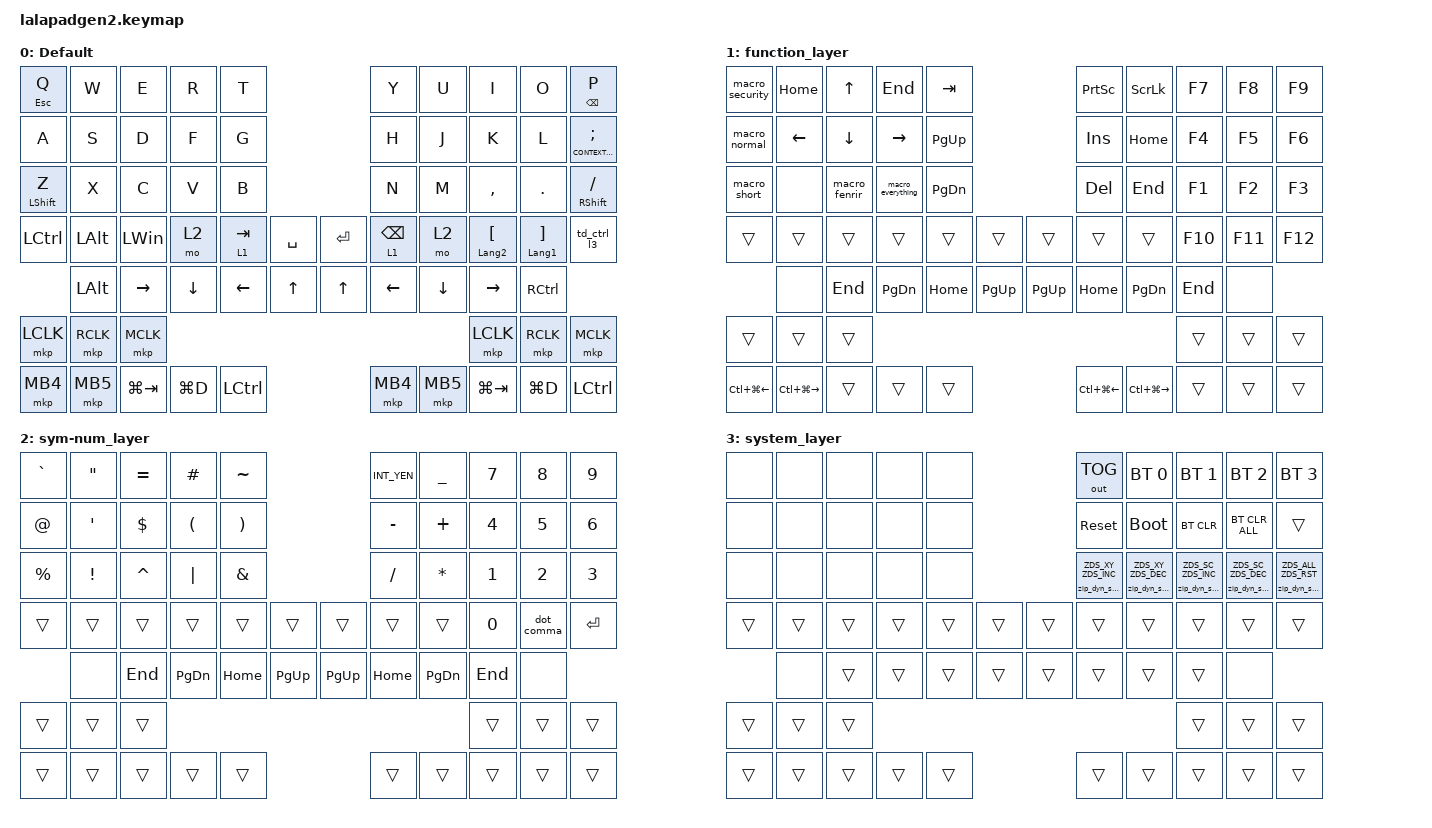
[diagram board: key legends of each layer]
#include <input/processors.dtsi>
#include <dt-bindings/zmk/zip_dynamic_scale.h>
#include <behaviors.dtsi>
#include <dt-bindings/zmk/bt.h>
#include <dt-bindings/zmk/keys.h>
#include <dt-bindings/zmk/outputs.h>
#include <dt-bindings/zmk/pointing.h>

#define DEFAULT_LAYER   0
#define SECONDARY_LAYER 1
#define TERTIARY_LAYER  2
#define SYSTEM_LAYER    3

&mt {
    hold-trigger-key-positions = <35 27 28 29 19 36 39 40 42 43 44 45 48 49 50 51 42 43 45 46 47 48 51 9 18 17 16 26 25 15 0 1 3 4 14 13 12 11 21 22 23 24>;
    tapping-term-ms = <150>;
};

&lt { quick-tap-ms = <200>; };

/ {
    behaviors {
        zip_dyn_scale: zip_dyn_scale {
            compatible = "zmk,behavior-zip-dynamic-scale";
            #binding-cells = <2>;
        };

        zip_dyn_scale_set: zip_dyn_scale_set {
            compatible = "zmk,behavior-zip-dynamic-scale-set";
            #binding-cells = <2>;
        };

        mt2: mod_tap2 {
            compatible = "zmk,behavior-hold-tap";
            #binding-cells = <2>;
            flavor = "tap-preferred";
            tapping-term-ms = <200>;
            quick-tap-ms = <200>;
            require-prior-idle-ms = <125>;
            bindings = <&kp>, <&kp>;
        };

        td_ctrl_l3: td_ctrl_l3 {
            compatible = "zmk,behavior-tap-dance";
            label = "TD_CTRL_L3";
            #binding-cells = <0>;
            bindings = <&kp RCTRL>, <&mo 3>;

            tapping-term-ms = <300>;
        };

        dot_comma: dot_comma {
            compatible = "zmk,behavior-mod-morph";
            label = "DOT_COMMA";
            bindings = <&kp PERIOD>, <&kp COMMA>;

            #binding-cells = <0>;
            mods = <(MOD_LCTL|MOD_RCTL)>;
        };

        td_a_tab: td_a_tab {
            compatible = "zmk,behavior-tap-dance";
            label = "TD_A_TAB";
            #binding-cells = <0>;
            bindings = <&kp A>, <&kp TAB>;

            tapping-term-ms = <300>;
        };

        td_q_esc: td_q_esc {
            compatible = "zmk,behavior-tap-dance";
            label = "TD_Q_ESC";
            #binding-cells = <0>;
            bindings = <&kp Q>, <&kp ESCAPE>;

            tapping-term-ms = <300>;
        };

        td_p_bs: td_p_bs {
            compatible = "zmk,behavior-tap-dance";
            label = "TD_P_BS";
            #binding-cells = <0>;
            bindings = <&kp P>, <&kp BACKSPACE>;

            tapping-term-ms = <300>;
        };

        td_comma_lbkt: td_comma_lbkt {
            compatible = "zmk,behavior-tap-dance";
            label = "TD_COMMA_LBKT";
            #binding-cells = <0>;
            bindings = <&kp COMMA>, <&kp LEFT_BRACKET>;

            tapping-term-ms = <300>;
        };

        td_dot_rbkt: td_dot_rbkt {
            compatible = "zmk,behavior-tap-dance";
            label = "TD_DOT_RBKT";
            #binding-cells = <0>;
            bindings = <&kp PERIOD>, <&kp RIGHT_BRACKET>;

            tapping-term-ms = <300>;
        };

        td_mo2_mo1: td_mo2_mo1 {
            compatible = "zmk,behavior-tap-dance";
            label = "TD_MO2_MO1";
            #binding-cells = <0>;
            bindings = <&mo 2>, <&mo 1>;

            tapping-term-ms = <350>;
        };
    };

    combos {
        compatible = "zmk,combos";

        CONBO_ESC {
            bindings = <&kp ESCAPE>;
            key-positions = <0 1>;
        };

        COMBO_MS {
            bindings = <&macro_ms>;
            key-positions = <20 10>;
        };

        COMBO_BS {
            bindings = <&kp BACKSPACE>;
            key-positions = <8 9>;
        };

        COMBO_TAB {
            bindings = <&kp TAB>;
            key-positions = <11 12>;
        };
    };

    macros {
        macro_security: macro_security {
            compatible = "zmk,behavior-macro";
            #binding-cells = <0>;
            bindings = <&kp LS(M) &kp AT &kp K &kp N0 &kp T &kp N0 &kp LS(H) &kp N0 &kp K &kp U &kp C &kp H &kp N1>;
            label = "MACRO_SECURITY";
        };

        macro_normal: macro_normal {
            compatible = "zmk,behavior-macro";
            #binding-cells = <0>;
            bindings = <&kp LS(M) &kp A &kp K &kp N0 &kp T &kp N0 &kp LS(H) &kp N0 &kp K &kp U &kp C &kp H &kp N1>;
            label = "MACRO_NORMAL";
        };

        macro_short: macro_short {
            compatible = "zmk,behavior-macro";
            #binding-cells = <0>;
            bindings = <&kp LS(H) &kp N0 &kp K &kp U &kp C &kp H &kp N1>;
            label = "MACRO_SHORT";
        };

        macro_ms: macro_ms {
            compatible = "zmk,behavior-macro";
            #binding-cells = <0>;
            bindings = <&kp N2 &kp M &kp LS(M) &kp A &kp K &kp N0 &kp T &kp N0 &kp DLLR &kp N3>;
            label = "MACRO_MS";
        };

        macro_fenrir: macro_fenrir {
            compatible = "zmk,behavior-macro";
            #binding-cells = <0>;
            bindings = <&kp LS(LC(INT_YEN))>;
            label = "MACRO_FENRIR";
        };

        macro_everything: macro_everything {
            compatible = "zmk,behavior-macro";
            #binding-cells = <0>;
            bindings = <&kp LC(LS(BACKSPACE))>;
            label = "MACRO_EVERYTHING";
        };
    };

    keymap {
        compatible = "zmk,keymap";

        DEFAULT_LAYER {
            display-name = "Default";
            bindings = <
&mt2 ESCAPE Q     &kp W         &kp E         &kp R      &kp T                            &kp Y            &kp U     &kp I                         &kp O                          &mt2 BACKSPACE P
&kp A             &kp S         &kp D         &kp F      &kp G                            &kp H            &kp J     &kp K                         &kp L                          &mt2 K_CONTEXT_MENU SEMICOLON
&mt LEFT_SHIFT Z  &kp X         &kp C         &kp V      &kp B                            &kp N            &kp M     &kp COMMA                     &kp PERIOD                     &mt RIGHT_SHIFT SLASH
&kp LCTRL         &kp LEFT_ALT  &kp LEFT_WIN  &mo 2      &lt 1 TAB  &kp SPACE  &kp ENTER  &lt 1 BACKSPACE  &mo 2     &mt2 LANGUAGE_2 LEFT_BRACKET  &mt2 LANGUAGE_1 RIGHT_BRACKET  &td_ctrl_l3
                  &kp LEFT_ALT  &kp RIGHT     &kp DOWN   &kp LEFT   &kp UP     &kp UP     &kp LEFT         &kp DOWN  &kp RIGHT                     &kp RCTRL
&mkp LCLK         &mkp RCLK     &mkp MCLK                                                                            &mkp LCLK                     &mkp RCLK                      &mkp MCLK
&mkp MB4          &mkp MB5      &kp LG(TAB)   &kp LG(D)  &kp LCTRL                        &mkp MB4         &mkp MB5  &kp LG(TAB)                   &kp LG(D)                      &kp LCTRL
            >;
        };

        FUNCTION_LAYER {
            display-name = "function_layer";
            bindings = <
&macro_security   &kp HOME           &kp UP_ARROW   &kp END            &kp TAB                              &kp PRINTSCREEN   &kp SCROLLLOCK     &kp F7   &kp F8   &kp F9
&macro_normal     &kp LEFT           &kp DOWN       &kp RIGHT          &kp PG_UP                            &kp INSERT        &kp HOME           &kp F4   &kp F5   &kp F6
&macro_short      &none              &macro_fenrir  &macro_everything  &kp PAGE_DOWN                        &kp DELETE        &kp END            &kp F1   &kp F2   &kp F3
&trans            &trans             &trans         &trans             &trans         &trans     &trans     &trans            &trans             &kp F10  &kp F11  &kp F12
                  &none              &kp END        &kp PAGE_DOWN      &kp HOME       &kp PG_UP  &kp PG_UP  &kp HOME          &kp PAGE_DOWN      &kp END  &none
&trans            &trans             &trans                                                                                                      &trans   &trans   &trans
&kp LC(LG(LEFT))  &kp LC(LG(RIGHT))  &trans         &trans             &trans                               &kp LC(LG(LEFT))  &kp LC(LG(RIGHT))  &trans   &trans   &trans
            >;
        };

        SYM-NUM_LAYER {
            display-name = "sym-num_layer";
            bindings = <
&kp GRAVE    &kp DOUBLE_QUOTES  &kp EQUAL   &kp HASH              &kp TILDE                                    &kp INT_YEN  &kp UNDER      &kp N7        &kp N8        &kp N9
&kp AT       &kp SQT            &kp DOLLAR  &kp LEFT_PARENTHESIS  &kp RIGHT_PARENTHESIS                        &kp MINUS    &kp PLUS       &kp NUMBER_4  &kp N5        &kp NUMBER_6
&kp PERCENT  &kp EXCL           &kp CARET   &kp PIPE              &kp AMPS                                     &kp SLASH    &kp ASTERISK   &kp NUMBER_1  &kp NUMBER_2  &kp NUMBER_3
&trans       &trans             &trans      &trans                &trans                 &trans     &trans     &trans       &trans         &kp N0        &dot_comma    &kp ENTER
             &none              &kp END     &kp PAGE_DOWN         &kp HOME               &kp PG_UP  &kp PG_UP  &kp HOME     &kp PAGE_DOWN  &kp END       &none
&trans       &trans             &trans                                                                                                     &trans        &trans        &trans
&trans       &trans             &trans      &trans                &trans                                       &trans       &trans         &trans        &trans        &trans
            >;
        };

        SYSTEM_LAYER {
            display-name = "system_layer";
            bindings = <
&none   &none   &none   &none   &none                   &out OUT_TOG                   &bt BT_SEL 0                   &bt BT_SEL 1                   &bt BT_SEL 2                   &bt BT_SEL 3
&none   &none   &none   &none   &none                   &sys_reset                     &bootloader                    &bt BT_CLR                     &bt BT_CLR_ALL                 &trans
&none   &none   &none   &none   &none                   &zip_dyn_scale ZDS_XY ZDS_INC  &zip_dyn_scale ZDS_XY ZDS_DEC  &zip_dyn_scale ZDS_SC ZDS_INC  &zip_dyn_scale ZDS_SC ZDS_DEC  &zip_dyn_scale ZDS_ALL ZDS_RST
&trans  &trans  &trans  &trans  &trans  &trans  &trans  &trans                         &trans                         &trans                         &trans                         &trans
        &none   &trans  &trans  &trans  &trans  &trans  &trans                         &trans                         &trans                         &none
&trans  &trans  &trans                                                                                                &trans                         &trans                         &trans
&trans  &trans  &trans  &trans  &trans                  &trans                         &trans                         &trans                         &trans                         &trans
            >;
        };
    };

    conditional_layers { compatible = "zmk,conditional-layers"; };
};
